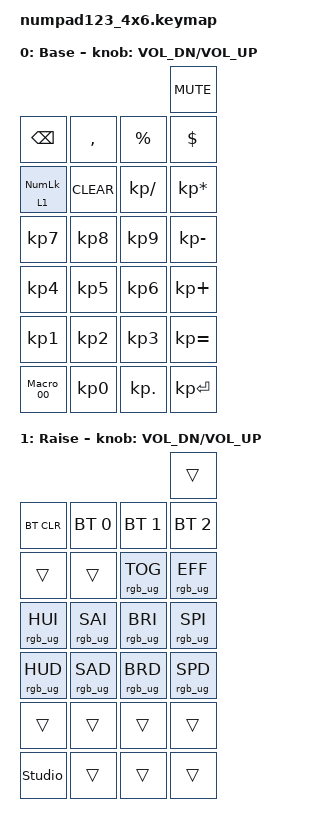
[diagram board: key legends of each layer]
#include <behaviors.dtsi>
#include <dt-bindings/zmk/bt.h>
#include <dt-bindings/zmk/keys.h>
#include <dt-bindings/zmk/rgb.h>

#define Base 0
#define Raise 1

/ {
    macros {
        Macro_00: Macro_00 {
            compatible = "zmk,behavior-macro";
            #binding-cells = <0>;
            bindings = <&kp KP_NUMBER_0 &kp KP_N0>;
            label = "MACRO_00";
        };
    };

    keymap {
        compatible = "zmk,keymap";

        default_layer {
            display-name = "Base";
            bindings = <
                                                    &kp C_MUTE
&kp BACKSPACE     &kp COMMA        &kp PERCENT      &kp DOLLAR
&lt 1 KP_NUMLOCK  &kp CLEAR        &kp KP_DIVIDE    &kp KP_MULTIPLY
&kp KP_NUMBER_7   &kp KP_NUMBER_8  &kp KP_NUMBER_9  &kp KP_MINUS
&kp KP_NUMBER_4   &kp KP_NUMBER_5  &kp KP_NUMBER_6  &kp KP_PLUS
&kp KP_NUMBER_1   &kp KP_NUMBER_2  &kp KP_NUMBER_3  &kp KP_EQUAL
&Macro_00         &kp KP_N0        &kp KP_DOT       &kp KP_ENTER
            >;

            sensor-bindings = <&inc_dec_kp C_VOL_DN C_VOL_UP>;
        };

        Raise {
	        display-name = "Raise";
            bindings = <
                                                   &trans
&bt BT_CLR       &bt BT_SEL 0     &bt BT_SEL 1     &bt BT_SEL 2
&trans           &trans           &rgb_ug RGB_TOG  &rgb_ug RGB_EFF
&rgb_ug RGB_HUI  &rgb_ug RGB_SAI  &rgb_ug RGB_BRI  &rgb_ug RGB_SPI
&rgb_ug RGB_HUD  &rgb_ug RGB_SAD  &rgb_ug RGB_BRD  &rgb_ug RGB_SPD
&trans           &trans           &trans           &trans
&studio_unlock   &trans           &trans           &trans
            >;
			
            sensor-bindings = <&inc_dec_kp C_VOL_DN C_VOL_UP>;
        };
    };
};
